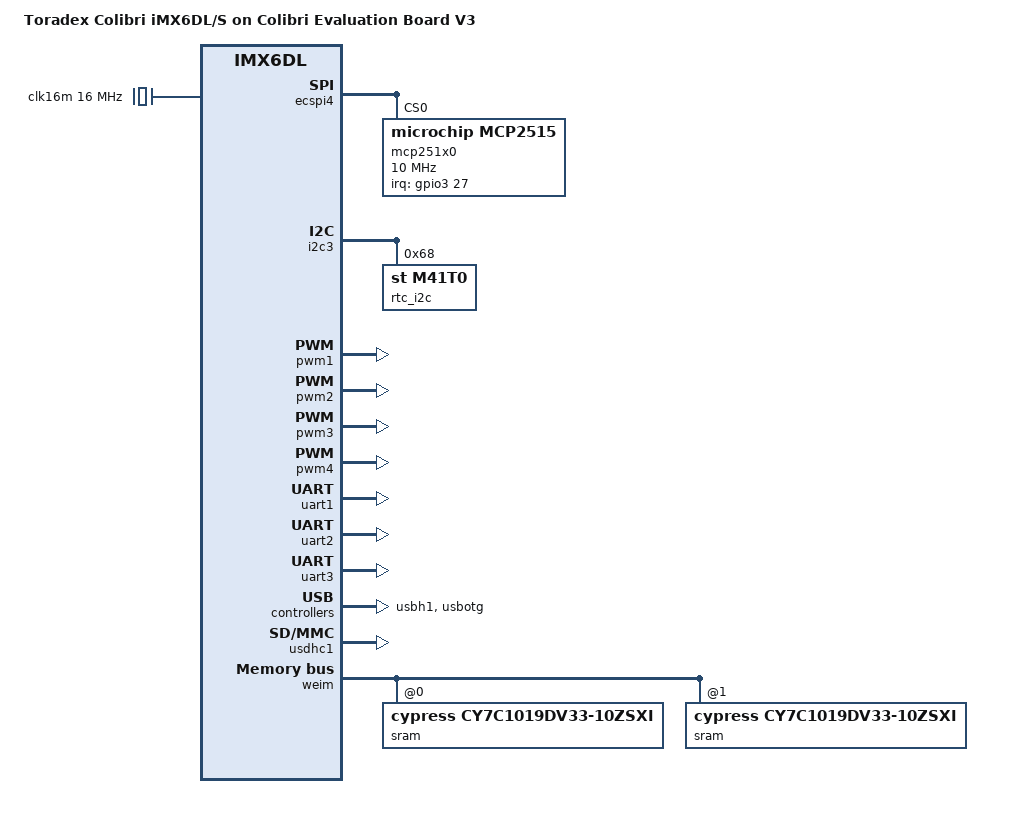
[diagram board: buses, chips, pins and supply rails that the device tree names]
// SPDX-License-Identifier: GPL-2.0-or-later OR MIT
/*
 * Copyright 2014-2022 Toradex
 * Copyright 2012 Freescale Semiconductor, Inc.
 * Copyright 2011 Linaro Ltd.
 */

/dts-v1/;

#include <dt-bindings/input/input.h>
#include <dt-bindings/interrupt-controller/irq.h>
#include "imx6dl.dtsi"
#include "imx6qdl-colibri.dtsi"

/ {
	model = "Toradex Colibri iMX6DL/S on Colibri Evaluation Board V3";
	compatible = "toradex,colibri_imx6dl-eval-v3", "toradex,colibri_imx6dl",
		     "fsl,imx6dl";

	aliases {
		i2c0 = &i2c2;
		i2c1 = &i2c3;
	};

	aliases {
		rtc0 = &rtc_i2c;
		rtc1 = &snvs_rtc;
	};

	chosen {
		stdout-path = "serial0:115200n8";
	};

	/* Fixed crystal dedicated to mcp251x */
	clk16m: clock-16m {
		compatible = "fixed-clock";
		#clock-cells = <0>;
		clock-frequency = <16000000>;
		clock-output-names = "clk16m";
	};
};

/* Colibri SSP */
&ecspi4 {
	status = "okay";

	mcp251x0: mcp251x@0 {
		compatible = "microchip,mcp2515";
		clocks = <&clk16m>;
		interrupt-parent = <&gpio3>;
		interrupts = <27 0x2>;
		reg = <0>;
		spi-max-frequency = <10000000>;
		status = "okay";
	};
};

/*
 * Colibri I2C: I2C3_SDA/SCL on SODIMM 194/196 (e.g. RTC on carrier board)
 */
&i2c3 {
	status = "okay";

	/* M41T0M6 real time clock on carrier board */
	rtc_i2c: rtc@68 {
		compatible = "st,m41t0";
		reg = <0x68>;
	};
};

&iomuxc {
	pinctrl-names = "default";
	pinctrl-0 = <
		&pinctrl_weim_gpio_1 &pinctrl_weim_gpio_2
		&pinctrl_weim_gpio_3 &pinctrl_weim_gpio_4
		&pinctrl_weim_gpio_5 &pinctrl_weim_gpio_6
		&pinctrl_usbh_oc_1 &pinctrl_usbc_id_1
	>;
};

&pwm1 {
	status = "okay";
};

&pwm2 {
	status = "okay";
};

&pwm3 {
	status = "okay";
};

&pwm4 {
	status = "okay";
};

&reg_usb_host_vbus {
	status = "okay";
};

&uart1 {
	status = "okay";
};

&uart2 {
	status = "okay";
};

&uart3 {
	status = "okay";
};

&usbh1 {
	status = "okay";
};

&usbotg {
	status = "okay";
};

/* Colibri MMC */
&usdhc1 {
	status = "okay";
};

&weim {
	status = "okay";

	/* weim memory map: 32MB on CS0, CS1, CS2 and CS3 */
	ranges = <0 0 0x08000000 0x02000000
		  1 0 0x0a000000 0x02000000
		  2 0 0x0c000000 0x02000000
		  3 0 0x0e000000 0x02000000>;

	/* SRAM on Colibri nEXT_CS0 */
	sram@0,0 {
		compatible = "cypress,cy7c1019dv33-10zsxi", "mtd-ram";
		reg = <0 0 0x00010000>;
		#address-cells = <1>;
		#size-cells = <1>;
		bank-width = <2>;
		fsl,weim-cs-timing = <0x00010081 0x00000000 0x04000000
				      0x00000000 0x04000040 0x00000000>;
	};

	/* SRAM on Colibri nEXT_CS1 */
	sram@1,0 {
		compatible = "cypress,cy7c1019dv33-10zsxi", "mtd-ram";
		reg = <1 0 0x00010000>;
		#address-cells = <1>;
		#size-cells = <1>;
		bank-width = <2>;
		fsl,weim-cs-timing = <0x00010081 0x00000000 0x04000000
				      0x00000000 0x04000040 0x00000000>;
	};
};
